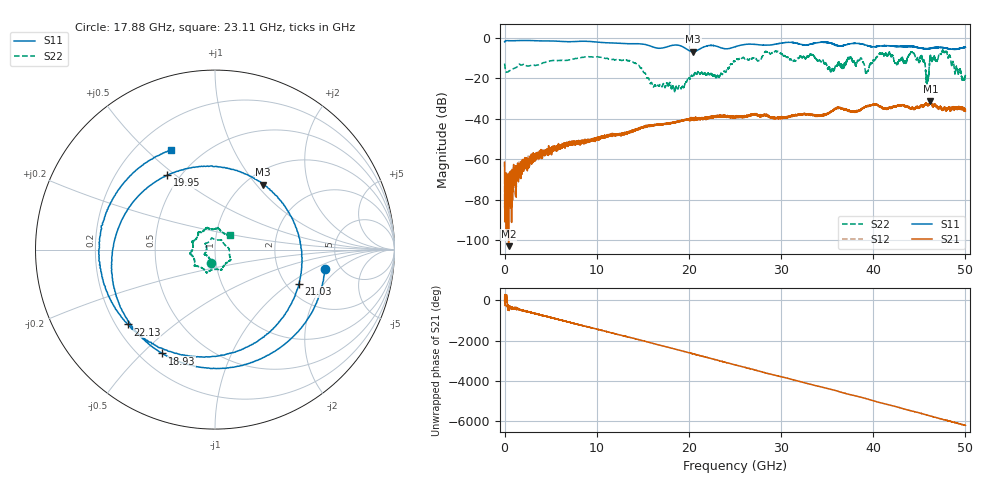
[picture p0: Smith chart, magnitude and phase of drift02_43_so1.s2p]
!Created with skrf (http://scikit-rf.org).
# Hz S RI R 50.0
!freq ReS11 ImS11 ReS21 ImS21 ReS12 ImS12 ReS22 ImS22
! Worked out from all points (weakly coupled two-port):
!   10001 points, 300 kHz to 50 GHz, reference 50 ohm
!   highest |S21| = -31.30 dB at 46.2 GHz (marker M1); lowest = -102.9 dB at 435.3 MHz (marker M2)
!   lowest |S11| = -6.9 dB at 20.44 GHz (marker M3), VSWR 2.64, Z = 59.9 + j54.4 ohm
!   |S11| at or under -10 dB: nowhere
!   |S22| runs from -26.7 to -6.1 dB; largest |S21 - S12| = 0.0033
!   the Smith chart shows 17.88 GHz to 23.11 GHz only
!   S11 on the Smith chart (normalised r, x): 17.88 GHz: 3.80, -1.32; 18.93 GHz: 0.29, -0.58; 19.95 GHz: 0.43, +0.47; 21.03 GHz: 2.33, -1.20; 22.13 GHz: 0.25, -0.35; 23.11 GHz: 0.34, +0.60
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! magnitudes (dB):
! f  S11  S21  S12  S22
! 300 kHz  -2.1  -61.5  -61.2  -12.8
! 435.3 MHz  -1.4  -102.9  -72.5  -16.6
! 3.005 GHz  -1.4  -58.6  -57.9  -13.5
! 8.335 GHz  -1.7  -51.7  -50.9  -9.7
! 13.7 GHz  -3.0  -46.6  -46.4  -11.7
! 16.67 GHz  -5.2  -43.0  -42.9  -23.6
! 17.88 GHz  -4.1  -42.3  -42.3  -22.4
! 18.93 GHz  -3.8  -41.2  -41.3  -23.5
! 19.95 GHz  -6.2  -40.3  -40.3  -19.7
! 20.44 GHz  -6.9  -40.1  -40.0  -19.1
! 21.03 GHz  -5.9  -40.1  -39.6  -16.7
! 22.13 GHz  -3.9  -39.5  -39.7  -17.8
! 23.11 GHz  -4.4  -39.1  -39.0  -18.6
! 25 GHz  -4.5  -39.3  -38.9  -11.6
! 33.34 GHz  -3.0  -38.1  -37.9  -8.5
! 39.32 GHz  -3.8  -33.7  -33.7  -16.9
! 41.67 GHz  -3.9  -34.6  -34.8  -7.8
! 44.26 GHz  -4.2  -34.6  -34.6  -7.4
! 45.85 GHz  -5.5  -32.8  -33.2  -20.6
! 46.2 GHz  -5.2  -31.3  -31.6  -9.6
! 47.75 GHz  -5.0  -34.2  -34.5  -6.9
! 50 GHz  -4.7  -35.8  -36.1  -18.7
